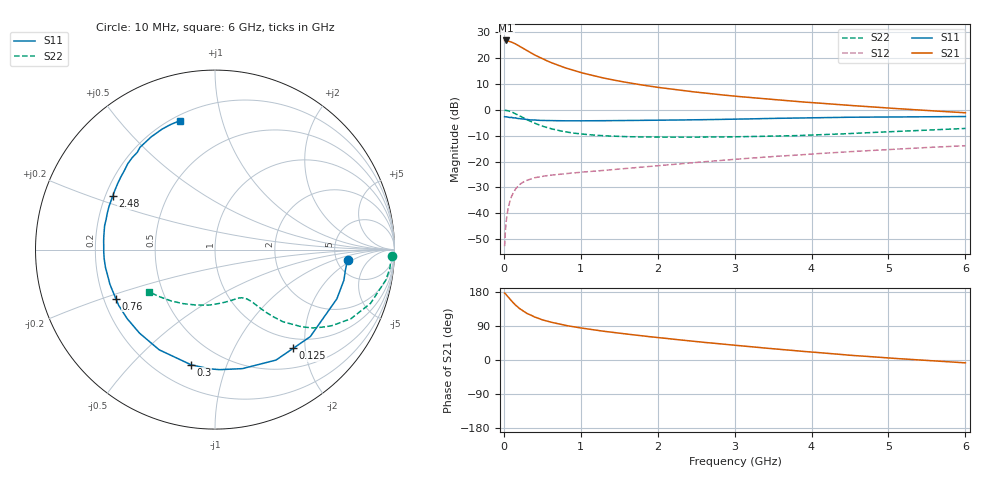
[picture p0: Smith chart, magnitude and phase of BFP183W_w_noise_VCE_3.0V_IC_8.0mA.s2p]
! Infineon Technologies  Discrete & RF Semiconductors
! BFP183W
! VCE = 3.0 V,  IC =  8.0 mA
! Common Emitter S-Parameters:  Jan 2016
# GHz  S  MA  R  50
!  f  S11  S21  S12  S22
! GHz  MAG  ANG  MAG  ANG  MAG  ANG  MAG  ANG
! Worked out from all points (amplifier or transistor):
!   210 points, 10 MHz to 6 GHz, reference 50 ohm
!   highest |S21| = 26.9 dB at 30 MHz (marker M1)
!   |S21| within 3 dB of that: start of sweep to 247.6 MHz
!   unconditionally stable (mu >= 1): 1.463 GHz to 5.605 GHz
!   at 185 MHz: K = 0.19, MSG = 27.2 dB, |S12| = -29.5 dB
!   at 1.52 GHz: K = 1.02, MAG = 16.1 dB, |S12| = -22.9 dB
!   at 6 GHz: K = 0.98, MSG = 6.4 dB, |S12| = -13.9 dB
!   lowest NFmin = 1.30 dB at 450 MHz
!   S11 on the Smith chart (normalised r, x): 10 MHz: 6.28, -1.62; 125 MHz: 0.82, -1.77; 300 MHz: 0.34, -0.76; 760 MHz: 0.25, -0.22; 2.48 GHz: 0.23, +0.23; 6 GHz: 0.23, +0.74
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0.01  0.7406 -4.5  22.1 176.6  0.0023 90.6  0.9863 -2.0
0.02  0.7355 -8.9  22.06 174.9  0.0045 84.5  0.9807 -4.1
0.03  0.7381 -13.4  22.13 172.5  0.0067 85.1  0.9798 -6.1
0.05  0.7323 -22.0  21.79 167.4  0.0113 79.9  0.9669 -10.1
0.1  0.719 -42.4  20.62 155.8  0.0211 70.3  0.9166 -19.1
0.125  0.7016 -51.6  19.75 150.7  0.025 65.2  0.8803 -22.9
0.15  0.7031 -61.1  19.04 145.2  0.0291 61.5  0.8483 -27.1
0.2  0.6806 -77.0  17.24 136.4  0.0354 55.6  0.7753 -33.2
0.26  0.6651 -92.6  15.28 128.0  0.0406 49.3  0.6962 -38.8
0.3  0.6552 -101.8  14.05 122.9  0.0433 46.2  0.6466 -41.7
0.4  0.6391 -119.1  11.61 113.4  0.0486 41.2  0.5527 -46.7
0.5  0.6273 -132.1  9.788 106.0  0.0517 38.2  0.4854 -49.5
0.6  0.6225 -141.8  8.403 100.3  0.0544 36.6  0.4374 -51.4
0.76  0.6165 -153.7  6.857 93.2  0.0574 35.8  0.3868 -53.3
1.02  0.6154 -167.2  5.201 84.0  0.0624 36.4  0.3407 -55.9
1.44  0.6206 177.8  3.759 72.3  0.0704 38.7  0.3095 -60.3
2.02  0.6324 162.4  2.715 58.9  0.0837 42.1  0.2977 -68.5
2.48  0.6432 152.5  2.229 49.1  0.0956 43.4  0.2974 -76.4
3.1  0.6661 140.6  1.792 37.2  0.1132 43.8  0.303 -88.5
4.1  0.709 124.8  1.354 19.4  0.1431 41.7  0.3297 -111.2
5.1  0.7339 113.0  1.063 4.0  0.174 37.7  0.3825 -132.9
6  0.7445 105.3  0.881 -7.5  0.2028 33.6  0.4378 -147.7
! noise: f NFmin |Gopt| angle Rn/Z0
0.45  1.3  0.17  43  0.21
0.9  1.35  0.21  115  0.2
1.8  2.05  0.33  -177  0.14
